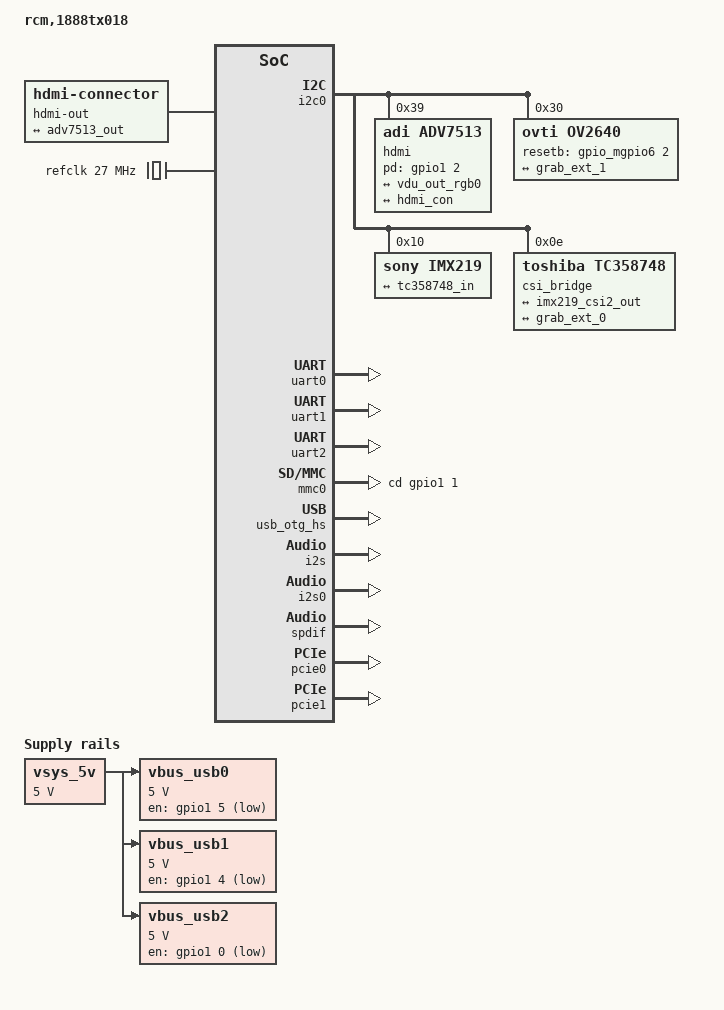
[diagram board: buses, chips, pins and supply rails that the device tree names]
/*
 * Device Tree Source for RCM 1888TX018 platform
 *
 * Copyright © 2022 Andrew Andrianov <andrianov@module.ru>
 * Copyright © 2023 Vladislav Fufaev <v.fufaev@modulew.ru>
 *
 * This file is licensed under the terms of the GNU General Public
 * License version 2.  This program is licensed "as is" without
 * any warranty of any kind, whether express or implied.
 */

/include/ "1888tx018.dtsi"

/ {
	model = "rcm,1888tx018";
	compatible = "rcm,1888tx018";

	aliases {
		serial0 = &uart0;
		serial1 = &uart1;
		serial2 = &uart2;
		mmc0 = &mmc0;
	};

	// HDMI channel 1 for DRM drivers
	hdmi-out {
		status = "okay";
		compatible = "hdmi-connector";
		type = "a";

		port {
			hdmi_con: endpoint {
				remote-endpoint = <&adv7513_out>;
			};
		};
	};

	xvclk: xvclk {
		#clock-cells = <0>;
		compatible = "fixed-clock";
		clock-frequency = <24000000>;
	};

	refclk: refclk {
		#clock-cells = <0>;
		compatible = "fixed-clock";
		clock-frequency = <27000000>;
		clock-output-names = "refclk";
	};

	cec: cec {
		#clock-cells = <0>;
		compatible = "fixed-clock";
		clock-frequency = <25000000>;
	};

	vsys_5v: vsys_5v {
		status = "okay";
		compatible = "regulator-fixed";
		regulator-name = "vsys_5v";
		regulator-type = "voltage";
		regulator-min-microvolt = <5000000>;
		regulator-max-microvolt = <5000000>;
		regulator-boot-on;
		enable-active-low;
	};

	regulators {
		compatible = "simple-bus";
		#address-cells = <1>;
		#size-cells = <0>;

		vbus_usb0: vbus_usb0@0 {
			status = "okay";
			reg = <0>;
			compatible = "regulator-fixed";
			regulator-name = "vbus_usb0";
			regulator-type = "voltage";
			regulator-min-microvolt = <5000000>;
			regulator-max-microvolt = <5000000>;
			enable-active-low;
			regulator-always-on;
			startup-delay-us = <0>;
			vin-supply = <&vsys_5v>;
			gpio = <&gpio1 5 0>;
		};

		vbus_usb1: vbus_usb1@1 {
			status = "okay";
			reg = <1>;
			compatible = "regulator-fixed";
			regulator-name = "vbus_usb1";
			regulator-type = "voltage";
			regulator-min-microvolt = <5000000>;
			regulator-max-microvolt = <5000000>;
			enable-active-low;
			regulator-always-on;
			startup-delay-us = <1000000>;
			vin-supply = <&vsys_5v>;
			gpio = <&gpio1 4 0>;
		};

		vbus_usb2: vbus_usb2@2 {
			status = "okay";
			reg = <2>;
			compatible = "regulator-fixed";
			regulator-name = "vbus_usb2";
			regulator-type = "voltage";
			regulator-min-microvolt = <5000000>;
			regulator-max-microvolt = <5000000>;
			enable-active-low;
			regulator-always-on;
			startup-delay-us = <2000000>;
			vin-supply = <&vsys_5v>;
			gpio = <&gpio1 0 0>;
		};
	};

	plb {

		sram_nor_arbiter {
			status = "ok";
			sram-nor-mux = <0>; // 0 to route extmem wires to LSIF0, 1 - to MCIF
			// in case of LSIF0 following lines will be needed
			ext-mem-mux-mode = <0>; // 0 - SRAN_NOR, 1 - NAND GBIT_GRETH0 GBIT_GRETH1, 2 - GRETH0 GRETH1 NAND
			mii-mux-mode = <0>; // 0- GBIT_GRETH1, 1 - GRETH2
			ce-manage = <2>; // 0
			pinctrl-names = "default";
			pinctrl-0 =
				/* GRETH_GBIT1 -> GMII */
				<&lsif0_mgpio9_greth_gbit1_gmii>,
				<&lsif0_mgpio10_greth_gbit1_gmii>;
				
		};

		lsif0 {
			greth_gbit1: greth_gbit1@0x3C034000 {
				status = "ok";
				mac-address = [ EC 17 66 77 05 02 ];
			};

			lsif0_mgpio0: lsif0_mgpio0@0x3C040420 {
				status = "disabled";
			};

			lsif0_mgpio1: lsif0_mgpio1@0x3C041420 {
				status = "disabled";
			};

			lsif0_mgpio2: lsif0_mgpio2@0x3C042420 {
				status = "disabled";
			};

			lsif0_mgpio3: lsif0_mgpio3@0x3C043420 {
				status = "disabled";
			};

			lsif0_mgpio6: lsif0_mgpio6@0x3C046420 {
				status = "disabled";
			};

			gpio_mgpio0: gpio_mgpio0@0x3C040000 {
				status = "ok";
				#gpio-cells = <2>;
				compatible = "arm,pl061", "arm,primecell";
				gpio-controller;
				reg = <0x3C040000 0x1000>;
				interrupt-controller;
				#interrupt-cells = <2>;
				interrupt-parent = <&MPIC>;
				interrupts = <104 0>;
				clocks = <&pclk>;
				clock-names = "apb_pclk";

				gpioafsel = <0>; //set all GPIO to GPIO mode

				gpio-line-names = "      [mgpio0-0]", "      [mgpio0-1]",
								  "      [mgpio0-2]", "      [mgpio0-3]",
								  "      [mgpio0-4]", "      [mgpio0-5]",
								  "pin15 [mgpio0-6]", "      [mgpio0-7]";

			};

			gpio_mgpio1: gpio_mgpio1@0x3C041000 {
				status = "ok";
				#gpio-cells = <2>;
				compatible = "arm,pl061", "arm,primecell";
				gpio-controller;
				reg = <0x3C041000 0x1000>;
				interrupt-controller;
				#interrupt-cells = <2>;
				interrupt-parent = <&MPIC>;
				interrupts = <110 0>;
				clocks = <&pclk>;
				clock-names = "apb_pclk";

				gpioafsel = <0>; //set all GPIO to GPIO mode

				gpio-line-names = "      [mgpio1-0]", "pin11 [mgpio1-1]",
								  "pin16 [mgpio1-2]", "pin12 [mgpio1-3]",
								  "      [mgpio1-4]", "      [mgpio1-5]",
								  "pin13 [mgpio1-6]", "pin07 [mgpio1-7]";
			};

			gpio_mgpio2: gpio_mgpio2@0x3C042000 {
				status = "ok";
				#gpio-cells = <2>;
				compatible = "arm,pl061", "arm,primecell";
				gpio-controller;
				reg = <0x3C042000 0x1000>;
				interrupt-controller;
				#interrupt-cells = <2>;
				interrupt-parent = <&MPIC>;
				interrupts = <111 0>;
				clocks = <&pclk>;
				clock-names = "apb_pclk";

				gpioafsel = <0>; //set all GPIO to GPIO mode

				gpio-line-names = "pin26 [mgpio2-0]", "pin18 [mgpio2-1]",
								  "pin22 [mgpio2-2]", "pin31 [mgpio2-3]",
								  "pin29 [mgpio2-4]", "pin32 [mgpio2-5]",
								  "pin37 [mgpio2-6]", "      [mgpio2-7]";
			};

			gpio_mgpio3: gpio_mgpio3@0x3C043000 {
				status = "ok";
				#gpio-cells = <2>;
				compatible = "arm,pl061", "arm,primecell";
				gpio-controller;
				reg = <0x3C043000 0x1000>;
				interrupt-controller;
				#interrupt-cells = <2>;
				interrupt-parent = <&MPIC>;
				interrupts = <109 0>;
				clocks = <&pclk>;
				clock-names = "apb_pclk";

				gpioafsel = <0>; //set all GPIO to GPIO mode

				gpio-line-names = "pin24 [mgpio3-0]", "      [mgpio3-1]",
								  "pin36 [mgpio3-2]", "pin33 [mgpio3-3]",
								  "      [mgpio3-4]", "      [mgpio3-5]",
								  "      [mgpio3-6]", "      [mgpio3-7]";
			};

			gpio_mgpio6: gpio_mgpio6@0x3C046000 {
				status = "ok";
				#gpio-cells = <2>;
				compatible = "arm,pl061", "arm,primecell";
				gpio-controller;
				reg = <0x3C046000 0x1000>;
				interrupt-controller;
				#interrupt-cells = <2>;
				interrupt-parent = <&MPIC>;
				interrupts = <113 0>;
				clocks = <&pclk>;
				clock-names = "apb_pclk";

				gpioafsel = <0>; //set all GPIO to GPIO mode

				gpio-line-names = "        [mgpio6-0]", "        [mgpio6-1]",
								  "VIN1_RST[mgpio6-2]", "        [mgpio6-3]",
								  "        [mgpio6-4]", "        [mgpio6-5]",
								  "        [mgpio6-6]", "        [mgpio6-7]";
			};

		};

		lsif1 {
			i2c0: i2c@0x3C05A000 {
				status = "ok";

				hdmi@39 {
					status = "okay";
					compatible = "adi,adv7513";
					reg = <0x39>, <0x29>, <0x49>, <0x59>;
					reg-names = "main", "cec", "edid", "packet";

					adi,input-depth = <8>;
					adi,input-colorspace = "yuv444";
					adi,input-clock = "1x";
					adi,input-style = <1>;
					adi,input-justification = "evenly";

					clocks = <&cec>;
					clock-names = "cec";

					pd-gpios = <&gpio1 2 0>; /* Power Down */

					ports {
						#address-cells = <1>;
						#size-cells = <0>;

						port@0 {
							reg = <0>;
							adv7513_in: endpoint {
								remote-endpoint = <&vdu_out_rgb0>;
							};
						};

						port@1 {
							reg = <1>;
							adv7513_out: endpoint {
								remote-endpoint = <&hdmi_con>;
							};
						};
					};
				};

				ov2640: camera@30 {
					status = "okay";
					compatible = "ovti,ov2640";
					reg = <0x30>;

					clocks = <&xvclk>;
					clock-names = "xvclk";
					assigned-clocks = <&xvclk>;
					assigned-clock-rates = <24000000>;

					resetb-gpios = <&gpio_mgpio6 2 0>;

					port {
						ov2640_0: endpoint {
							remote-endpoint = <&grab_ext_1>;
							bus-type = <5>; /* PARALLEL */
					        bus-width = <8>;
							vsync-active = <1>;
							hsync-active = <1>;
							pclk-sample = <1>;
						};
					};
				};
				imx219: sensor@10 {
					status = "okay";
					compatible = "sony,imx219";
					reg = <0x10>;
					clocks = <&xvclk>;
					clock-names = "xclk";

					//VANA-supply = <&cam1_reg>;      /* 2.8v */
					//VDIG-supply = <&cam_dummy_reg>; /* 1.8v */
					//VDDL-supply = <&cam_dummy_reg>; /* 1.2v */

					rotation = <180>;
					orientation = <2>;

					port {
						/* MIPI CSI-2 bus endpoint */
						imx219_csi2_out: endpoint {
							remote-endpoint = <&tc358748_in>;
							bus-type = <4>; /* CSI2 DPHY */
							clock-lanes = <0>;
							data-lanes = <1 2>;
							//clock-noncontinuous;
							link-frequencies = /bits/ 64 <432000000>;
						};
					};
				};
				// CSI-2 bridge
				csi_bridge: tc358748@e {
					status = "okay";
					compatible = "toshiba,tc358748";
					reg = <0xe>;
					clocks = <&refclk>;
					clock-names = "refclk";
					//vddc-supply = <&v1_2d>;
					//vddio-supply = <&v1_8d>;
					//vddmipi-supply = <&v1_2d>;
					//reset-gpios = <&gpio 2 GPIO_ACTIVE_LOW>;
					mclk-rate = <24000000>;

					ports {
						#address-cells = <1>;
						#size-cells = <0>;

						/* Input */
						port@0 {
							reg = <0>;
							tc358748_in: endpoint {
								remote-endpoint = <&imx219_csi2_out>;
								bus-type = <4>; /* CSI2 DPHY */
								clock-lanes = <0>;
								data-lanes = <1 2>;
								//clock-noncontinuous;
								link-frequencies = /bits/ 64 <432000000>;
							};
						};

						/* Output */
						port@1 {
							reg = <1>;
							tc358748_out: endpoint {
								remote-endpoint = <&grab_ext_0>;
								bus-type = <5>; /* PARALLEL */
								bus-width = <24>;
								hsync-active = <0>;
								vsync-active = <0>;
								data-active = <1>;
								pclk-sample = <1>;
							};
						};
					};
				};
			};

			uart0: uart0@3C05D000 {
				status = "ok";
			};

			uart1: uart2@3C05E000 {
				status = "ok";
			};

			uart2: uart3@3C05F000 {
				status = "ok";
			};

			spi0: spi@0x3C061000 {
				status = "disabled";
				num-cs = <1>;
				cs-gpios = <&gpio1 2 0>;

				spi_flash@0 {
					compatible = "st,m25p32", "spi-nor";
					reg = <0>;
					spi-max-frequency = <20000000>;
				};
			};

			mmc0: mmc0@0x3C064000 {
				status = "ok";
				max-frequency = <25000000>;
				cd-gpios = <&gpio1 1 0>; // card detect
			};

			gpio0: gpio0@0x3C065000 {
				status = "ok";
				gpio-line-names = "SYS_BOOT0", "SYS_BOOT1", "BIST MODE", "HOST MODE",
								  "EDCL LOCK", "SYS_BOOT5", "SYS_BOOT6", "SYS_BOOT7";
			};

			gpio1: gpio1@0x3C066000 {
				status = "ok";
//				gpio-line-names = "SYS_BOOT8", "CARD_DETECT", "HDMI_PD", "USB_VBUS_EN1",
//								  "USB_VBUS_EN2", "USB_VBUS_EN0", "PCIE_M2_RSTn0", "PCIE_M2_RSTn1";
				gpio-line-names = "USB_VBUS_EN2", "CARD_DETECT", "HDMI_PD", "HDMI_INT",
								  "USB_VBUS_EN1", "USB_VBUS_EN0", "PCIE_M2_RSTn0", "PCIE_M2_RSTn1";
			};

			usb_otg_hs: usb_otg_hs@0x3C06D000 {
				status = "ok";
				mode = <1>; // 1 - host, 2 - device
			};
		};

		hsif {
			rmace: rmace@0x3C024000 {
				status = "ok";
				dma-channel-count = <1>;
			};
		};

		mms {
			// VPU for user space driver
			vpu: vpu@0x38020000 {
				status = "ok";
			};

			// VPU for kernel V4L2 driver
			vpu_v4l2: vpu@38020000 {
				status = "disabled";
			};

			jpg: jpg@0x3801a000 {
				status = "ok";
			};

			i2s: i2s@0x39080000 {
				status = "ok";
			};

			i2s0: i2s@0 {
				status = "ok";
			};

			spdif: spdif@0x39080000 {
				status = "ok";
			};

			audio_dma: audio_dma@0x38017000 {
				status = "ok";
			};

			spdif_out: spdif-out {
				#sound-dai-cells = <0>;
				compatible = "linux,spdif-dit";
			};

			audio_dma: audio_dma@0x38017000 {
				status = "ok";
			};

			// HDMI channel 0 for fbdev and v4l2 drivers (actually VDU index 1)
			vdu0: vdu@0x38013000 {
				status = "disabled";
			};

			// HDMI channel 1 for fbdev and v4l2 drivers (actually VDU index 0)
			vdu1: vdu@0x38011000 {
				status = "disabled";
			};

			// HDMI channel 0 for DRM drivers (actually VDU index 1)
			vdu0_drm: vdu@38013000 {
				status = "disabled";
			};

			// HDMI channel 1 for DRM drivers (actually VDU index 0)
			vdu1_drm: vdu@38011000 {
				status = "okay";
				output-color-space = "yuv444";
				max-width = <1280>;
				max-height = <720>;
				ports {
					port@0 {
						vdu_out_rgb0: endpoint@0 {
							remote-endpoint = <&adv7513_in>;
						};
					};
				};
			};

			vdu_graber_ext0: vdu_grabber@0x38016000 {
				status = "okay";
				port {
						grab_ext_0: endpoint {
								remote-endpoint = <&tc358748_out>;
								bus-type = <5>; /* PARALLEL */
								bus-width = <24>;
								vsync-active = <0>;
								hsync-active = <0>;
								data-active = <1>;
								pclk-sample = <1>;
						};
				};
			};

			vdu_graber_ext1: vdu_grabber@0x3801c000 {
				status = "okay";
				port {
						grab_ext_1: endpoint {
								remote-endpoint = <&ov2640_0>;
								bus-type = <5>; /* PARALLEL */
								bus-width = <8>;
								vsync-active = <1>;
								hsync-active = <0>;
								pclk-sample = <1>;
						};
				};
			};

			sound {
				status = "ok";
				compatible = "simple-audio-card";
				simple-audio-card,name = "RCM Audio";
				#address-cells = <1>;
				#size-cells = <0>;
				#sound-dai-cells = <0>;

				simple-audio-card,dai-link@0 { // I2S0 - cs4344
					reg = <0>;
					format = "i2s";
					compatible = "cirrus,cs4344";
					frame-master = <&cpu_dai>;
					bitclock-master = <&cpu_dai>;

					widgets =
						"Line", "Line Out";

					routing =
						"Line Out", "LLOUT",
						"Line Out", "RLOUT";

					cpu_dai: cpu {
						sound-dai = <&i2s0>;
						dai-tdm-slot-num = <2>;
						dai-tdm-slot-width = <32>;
					};

					codec {
						sound-dai = <&codec_dummy>;
					};

				};

				simple-audio-card,dai-link@4 { // spdif
					reg = <4>;
					cpu {
						sound-dai = <&spdif>;
					};
					codec {
						sound-dai = <&spdif_out>;
					};
				};

			};

			codec_dummy: codec_dummy {
				compatible = "linux,snd-soc-dummy";
				#sound-dai-cells = <0>;
				status = "okay";
			};

		};

		apb0 {

			watchdog: watchdog@0x38002000 {
				status = "ok";
			};

			thermal: thermal@0x38003000 {
				status = "ok";
			};

			cpufreq: cpufreq@0x38006000 {
				status = "ok";
				//       freq       fb pre post cpudiv tmrdiv
				freqs = <266667     64  1   1    2      7>,
				        <400000     64  1   1    1      7>,
						<800000     64  1   1    0      7>;

//				freqs = <100000     32  1   2    1      7>,
//						<200000     32  1   1    1      7>,
//						<400000     32  1   1    0      7>,
//						<600000     48  1   1    0      7>,
//						<800000     64  1   1    0      7>;

				/* 50 us (>1000 clocks at refclk/prediv) */
				transition-latency = <50000>; 
			};

		};

		xhsif0 {
			pcie0: pcie@1010000000 {
				status = "ok";
			};
		};

		xhsif1 {
			pcie1: pcie@1018000000 {
				status = "ok";
			};
		};

		dspcores {
			nmc3_0_core0: nmc3_0_core0@0x39000000 {
				status = "ok";
				core-name = "K1879-nmc";
			};
			nmc3_0_core1: nmc3_0_core1@0x39020000 {
				status = "ok";
				core-name = "K1879-nmc";
			};
			nmc3_1_core0: nmc3_1_core0@0x39040000 {
				status = "ok";
				core-name = "K1879-nmc";
			};
			nmc3_1_core1: nmc3_1_core1@0x39060000 {
				status = "ok";
				core-name = "K1879-nmc";
			};
		};
	};

	thermal-zones {
		cpu-thermal {
			polling-delay-passive = <0>;
			polling-delay =  <1000>;
			thermal-sensors = <&thermal>;

			trips {
				cpu-crit {
					temperature = <100000>;
					hysteresis = <0>;
					type = "critical";
				};
			};

			cooling-maps {
			};
		};
	};

	chosen {
		stdout-path = &uart0;
	};
};
